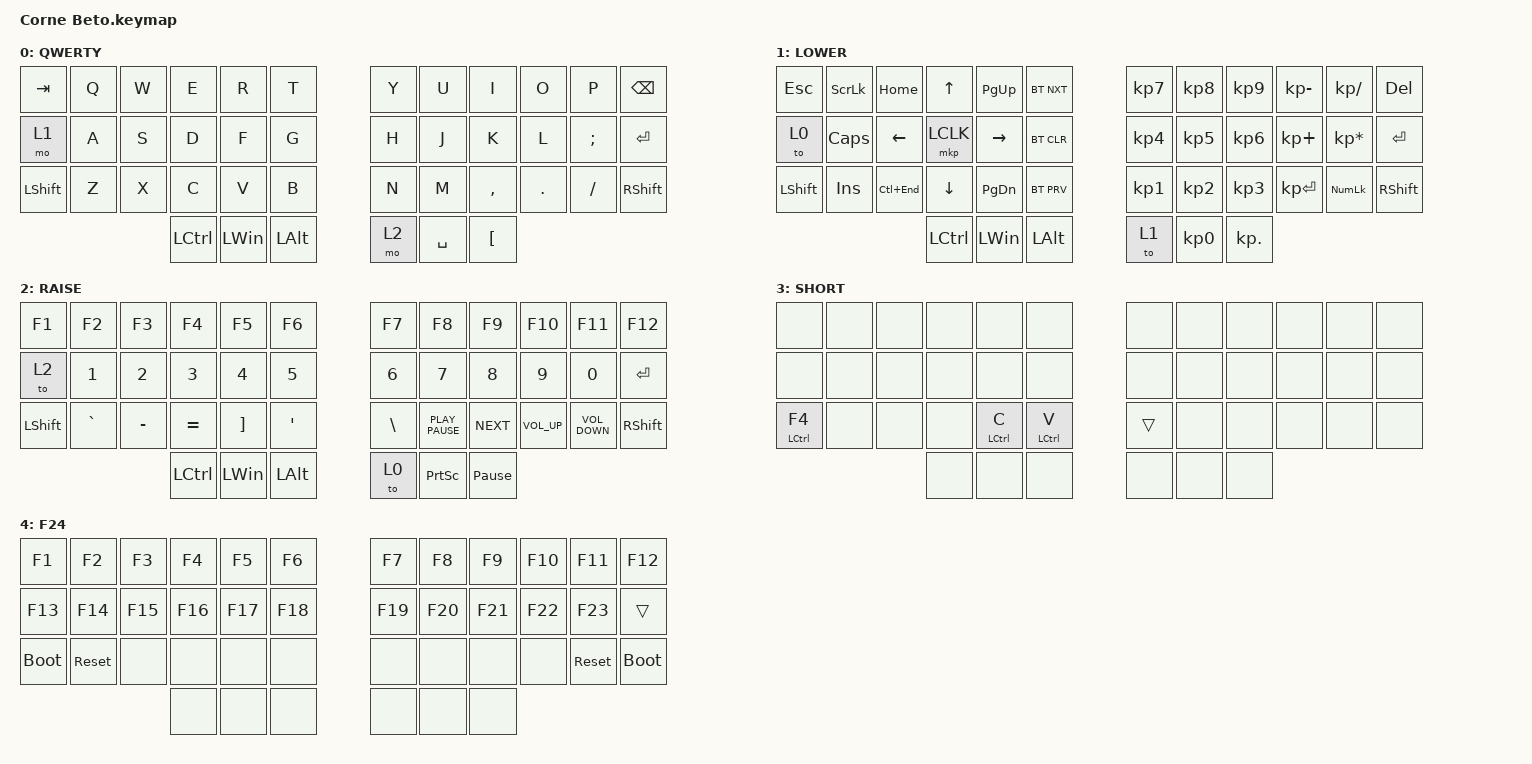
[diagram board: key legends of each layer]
#include <dt-bindings/zmk/reset.h>
#include <behaviors.dtsi>
#include <dt-bindings/zmk/bt.h>
#include <dt-bindings/zmk/keys.h>

#define BASE 0
#define LOWER 1
#define RAISE 2
#define SHORT 3
#define F24 4

/ {
    behaviors {
        hm: homerow_mods {
            compatible = "zmk,behavior-hold-tap";
            label = "HOMEROW_MODS";
            #binding-cells = <2>;
            tapping-term-ms = <250>;
            quick_tap_ms = <0>;
            flavor = "tap-preferred";
            bindings = <&kp>, <&kp>;
        };
    };

    keymap {
        compatible = "zmk,keymap";

        Base_layer {
              label = " QWERTY";
            // -----------------------------------------------------------------------------------------
            // | TAB |  Q  |  W  |  E  |  R  |  T  |          |  Y  |  U   |  I  |  O  |  P  |BKSP |
            // |MLY1 |  A  |  S  |  D  |  F  |  G  |          |  H  |  J   |  K  |  L  |  ;  | ENT |
            // |LSHFT|  Z  |  X  |  C  |  V  |  B  |          |  N  |  M   |  ,  |  .  |  /  |RSHFT|
            //                   | CTL | WIN | ALT |          | MLY2 | RSE  | [ |

            bindings = <
&kp TAB    &kp Q  &kp W  &kp E             &kp R         &kp T           &kp Y  &kp U      &kp I             &kp O    &kp P     &kp BACKSPACE
&mo 1      &kp A  &kp S  &kp D             &kp F         &kp G           &kp H  &kp J      &kp K             &kp L    &kp SEMI  &kp ENTER
&kp LSHFT  &kp Z  &kp X  &kp C             &kp V         &kp B           &kp N  &kp M      &kp COMMA         &kp DOT  &kp FSLH  &kp RIGHT_SHIFT
                         &kp LEFT_CONTROL  &kp LEFT_WIN  &kp LEFT_ALT    &mo 2  &kp SPACE  &kp LEFT_BRACKET
            >;
        };

        Lower_layer {
          label = " LOWER";
            // -----------------------------------------------------------------------------------------
            // | TAB | SLK | HM  | UP  | PgUp| BTNP|          | N7  | N8  | N9  |  -  |  /  |FWSP |
            // | TL0 | CLK | LFT |LCLK | RGT | BTDP|          | N4  | N5  | N6  | +   |  *  | ENT |
            // |LSHFT| INS | END | DWN | PgDn| BTCP|          | N1  | N2  | N3  | INT | NLK |RSHFT|
            //                   | CTL | WIN | ALT |          | TL1 | SPC | ALT |

            bindings = <
&kp ESCAPE      &kp SCROLLLOCK  &kp HOME        &kp UP_ARROW      &kp PAGE_UP      &bt BT_NXT      &kp KP_NUMBER_7  &kp KP_NUMBER_8  &kp KP_NUMBER_9  &kp KP_SUBTRACT  &kp KP_DIVIDE    &kp DELETE
&to 0           &kp CAPSLOCK    &kp LEFT_ARROW  &mkp LCLK         &kp RIGHT_ARROW  &bt BT_CLR      &kp KP_NUMBER_4  &kp KP_NUMBER_5  &kp KP_NUMBER_6  &kp KP_PLUS      &kp KP_MULTIPLY  &kp ENTER
&kp LEFT_SHIFT  &kp INSERT      &kp LC(END)     &kp DOWN          &kp PAGE_DOWN    &bt BT_PRV      &kp KP_NUMBER_1  &kp KP_NUMBER_2  &kp KP_NUMBER_3  &kp KP_ENTER     &kp KP_NUMLOCK   &kp RIGHT_SHIFT
                                                &kp LEFT_CONTROL  &kp LEFT_WIN     &kp LEFT_ALT    &to 1            &kp KP_NUMBER_0  &kp KP_DOT
            >;
        };

        Raise_layer {
          label = " RAISE";
            // -----------------------------------------------------------------------------------------
            // | F1  | F2  | F3  | F4  | F5  | F6  |          | F7  | F8  | F9  | F10 | F11 | F12 |
            // | TL2 |  1  |  2  |  3  |  4  |  5  |          |  6  |  7  |  8  |  9  |  0  | ENT |
            // |LSHFT|  |  |  '  |  ¿  |  +  |  {  |          |  }  |PLAY |NEXT |VOLUP|VOLDN|RSHFT|
            //                   | CTL | WIN | ALT |          | TL0 |PRSC |PAUSE|

            bindings = <
&kp F1     &kp F2        &kp F3        &kp F4            &kp F5             &kp F6              &kp F7         &kp F8            &kp F9           &kp F10          &kp F11            &kp F12
&to 2      &kp NUMBER_1  &kp NUMBER_2  &kp NUMBER_3      &kp NUMBER_4       &kp NUMBER_5        &kp NUMBER_6   &kp NUMBER_7      &kp NUMBER_8     &kp NUMBER_9     &kp NUMBER_0       &kp ENTER
&kp LSHFT  &kp GRAVE     &kp MINUS     &kp EQUAL         &kp RIGHT_BRACKET  &kp SINGLE_QUOTE    &kp BACKSLASH  &kp K_PLAY_PAUSE  &kp K_NEXT       &kp C_VOLUME_UP  &kp C_VOLUME_DOWN  &kp RIGHT_SHIFT
                                       &kp LEFT_CONTROL  &kp LEFT_WIN       &kp LEFT_ALT        &to 0          &kp PRINTSCREEN   &kp PAUSE_BREAK
            >;
        };

        Short_layer {
          label = " SHORT";
            bindings = <
&none         &none  &none  &none  &none        &none          &none   &none  &none  &none  &none  &none
&none         &none  &none  &none  &none        &none          &none   &none  &none  &none  &none  &none
&hm LCTRL F4  &none  &none  &none  &hm LCTRL C  &hm LCTRL V    &trans  &none  &none  &none  &none  &none
                            &none  &none        &none          &none   &none            &none
            >;
        };

        F24_layer {
          label = " F24";
            bindings = <
&kp F1       &kp F2      &kp F3   &kp F4   &kp F5   &kp F6     &kp F7   &kp F8   &kp F9   &kp F10  &kp F11     &kp F12
&kp F13      &kp F14     &kp F15  &kp F16  &kp F17  &kp F18    &kp F19  &kp F20  &kp F21  &kp F22  &kp F23     &trans
&bootloader  &sys_reset  &none    &none    &none    &none      &none    &none    &none    &none    &sys_reset  &bootloader
                                  &none    &none    &none      &none    &none    &none
            >;
        };
    };
};




